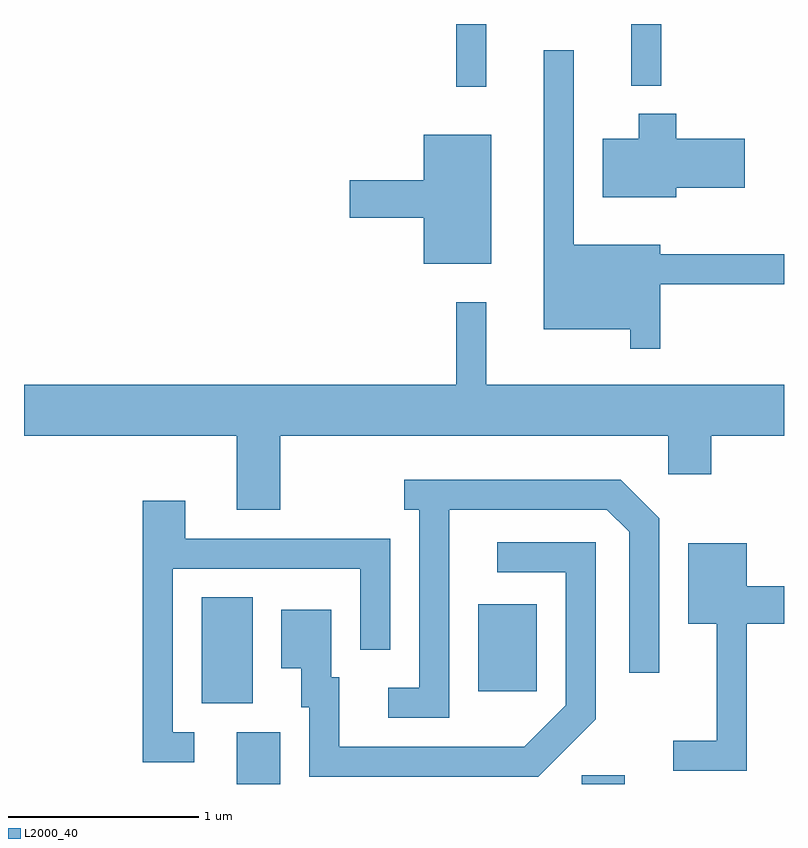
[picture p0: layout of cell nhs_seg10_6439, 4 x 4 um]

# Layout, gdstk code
import gdstk
lib = gdstk.Library(unit=1e-6, precision=1e-09)
def R(c, l, rs):  # rectangles x0, y0, x1, y1
    for r in rs: c.add(gdstk.rectangle(r[:2], r[2:], *l))
def P(c, l, *ps):  # polygons
    for p in ps: c.add(gdstk.Polygon(p, *l))
L2000_40 = (2000, 40)

nhs_seg10_6439 = lib.new_cell('nhs_seg10_6439')
R(nhs_seg10_6439, L2000_40, [(376.731,2116.522,376.959,2116.794), (378.546,2116.522,378.774,2116.569), (376.546,2116.946,376.814,2117.504), (378.001,2117.011,378.309,2117.469), (377.886,2120.193,378.044,2120.522), (378.806,2120.198,378.964,2120.522)])
P(nhs_seg10_6439, L2000_40, [(378.959,2119.151),(379.611,2119.151),(379.611,2119.309),(378.959,2119.309),(378.959,2119.359),(378.504,2119.359),(378.504,2120.383),(378.346,2120.383),(378.346,2118.916),(378.801,2118.916),(378.801,2118.813),(378.959,2118.813)],
  [(379.044,2119.661),(379.404,2119.661),(379.404,2119.919),(379.044,2119.919),(379.044,2120.049),(378.846,2120.049),(378.846,2119.919),(378.656,2119.919),(378.656,2119.611),(379.044,2119.611)],
  [(378.069,2119.939),(377.716,2119.939),(377.716,2119.699),(377.326,2119.699),(377.326,2119.501),(377.716,2119.501),(377.716,2119.261),(378.069,2119.261)],
  [(376.959,2118.356),(379.001,2118.356),(379.001,2118.151),(379.229,2118.151),(379.229,2118.356),(379.611,2118.356),(379.611,2118.624),(378.044,2118.624),(378.044,2119.058),(377.886,2119.058),(377.886,2118.624),(375.611,2118.624),(375.611,2118.356),(376.731,2118.356),(376.731,2117.966),(376.959,2117.966)],
  [(377.849,2117.966),(378.679,2117.966),(378.796,2117.849),(378.796,2117.108),(378.954,2117.108),(378.954,2117.922),(378.752,2118.124),(377.613,2118.124),(377.613,2117.966),(377.691,2117.966),(377.691,2117.029),(377.528,2117.029),(377.528,2116.871),(377.849,2116.871)],
  [(376.508,2116.794),(376.394,2116.794),(376.394,2117.656),(377.381,2117.656),(377.381,2117.228),(377.539,2117.228),(377.539,2117.814),(376.459,2117.814),(376.459,2118.014),(376.236,2118.014),(376.236,2116.636),(376.508,2116.636)],
  [(378.619,2116.864),(378.619,2117.794),(378.103,2117.794),(378.103,2117.636),(378.461,2117.636),(378.461,2116.937),(378.244,2116.719),(377.269,2116.719),(377.269,2117.084),(377.229,2117.084),(377.229,2117.439),(376.966,2117.439),(376.966,2117.131),(377.071,2117.131),(377.071,2116.926),(377.111,2116.926),(377.111,2116.561),(378.317,2116.561)],
  [(379.414,2117.366),(379.611,2117.366),(379.611,2117.564),(379.414,2117.564),(379.414,2117.789),(379.106,2117.789),(379.106,2117.366),(379.256,2117.366),(379.256,2116.749),(379.028,2116.749),(379.028,2116.591),(379.414,2116.591)])

lib.write_gds('nhs_seg10_6439.gds')
